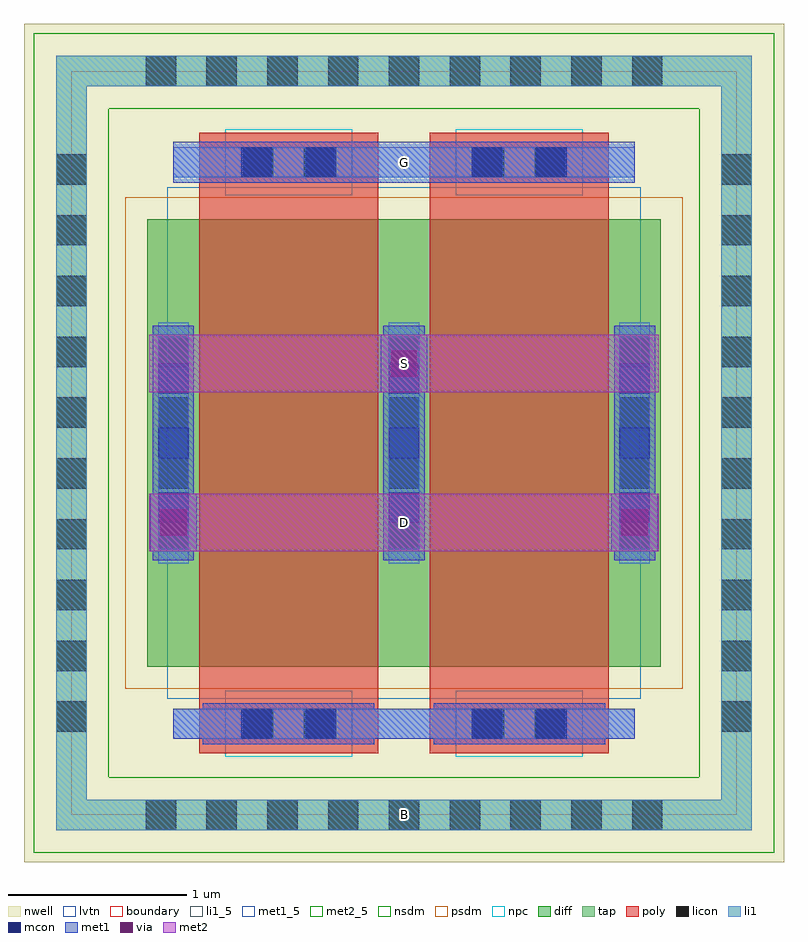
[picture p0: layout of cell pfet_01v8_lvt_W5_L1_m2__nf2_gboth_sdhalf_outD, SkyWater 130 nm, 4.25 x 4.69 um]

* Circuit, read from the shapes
.subckt pfet_01v8_lvt_W5_L1_m2__nf2_gboth_sdhalf_outD B D G S
XM1 S G D B sky130_fd_pr__pfet_01v8_lvt w=2.5 l=1 m=2
.ends

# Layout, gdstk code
import gdstk
lib = gdstk.Library(unit=1e-6, precision=1e-09)
def R(c, l, rs):  # rectangles x0, y0, x1, y1
    for r in rs: c.add(gdstk.rectangle(r[:2], r[2:], *l))
def A(c, l, x, y, w, h, nx, ny, dx, dy):  # array of equal rectangles
    R(c, l, [(x+i*dx, y+j*dy, x+i*dx+w, y+j*dy+h) for i in range(nx) for j in range(ny)])
nwell = (64, 20)
diff = (65, 20)
tap = (65, 44)
poly = (66, 20)
licon = (66, 44)
li1_5 = (67, 5)
li1 = (67, 20)
mcon = (67, 44)
met1_5 = (68, 5)
met1 = (68, 20)
via = (68, 44)
met2_5 = (69, 5)
met2 = (69, 20)
nsdm = (93, 44)
psdm = (94, 20)
npc = (95, 20)
lvtn = (125, 44)
boundary = (235, 4)

sky130_fd_pr__pfet_01v8_ = lib.new_cell('sky130_fd_pr__pfet_01v8_lvt_RZ4BCB')
R(sky130_fd_pr__pfet_01v8_, nwell, [(-2.125,-2.345,2.125,2.345)])
R(sky130_fd_pr__pfet_01v8_, diff, [(-1.435,-1.25,1.435,1.25)])
R(sky130_fd_pr__pfet_01v8_, tap, [(-1.945,-2.165,1.945,-1.995), (-1.945,-1.995,-1.775,1.995), (1.775,-1.995,1.945,1.995), (-1.945,1.995,1.945,2.165)])
R(sky130_fd_pr__pfet_01v8_, poly, [(-1.145,-1.735,-0.145,1.735), (0.145,-1.735,1.145,1.735)])
A(sky130_fd_pr__pfet_01v8_, licon, -1.445, -2.165, 0.17, 0.17, 9, 2, 0.34, 4.16)
A(sky130_fd_pr__pfet_01v8_, licon, -1.945, -1.615, 0.17, 0.17, 1, 10, 0, 0.34)
A(sky130_fd_pr__pfet_01v8_, licon, 1.775, -1.615, 0.17, 0.17, 1, 10, 0, 0.34)
A(sky130_fd_pr__pfet_01v8_, licon, -1.375, -0.595, 0.17, 0.17, 3, 4, 1.29, 0.34)
R(sky130_fd_pr__pfet_01v8_, licon, [(-0.9,-1.655,-0.73,-1.485), (-0.56,-1.655,-0.39,-1.485), (0.39,-1.655,0.56,-1.485), (0.73,-1.655,0.9,-1.485), (-0.9,1.485,-0.73,1.655), (-0.56,1.485,-0.39,1.655), (0.39,1.485,0.56,1.655), (0.73,1.485,0.9,1.655)])
A(sky130_fd_pr__pfet_01v8_, li1, -1.375, -0.675, 0.17, 1.35, 3, 1, 1.29, 0)
R(sky130_fd_pr__pfet_01v8_, li1, [(-1.945,-2.165,1.945,-1.995), (-1.945,-1.995,-1.775,1.995), (1.775,-1.995,1.945,1.995), (-1.29,-1.655,1.29,-1.485), (-1.29,1.485,1.29,1.655), (-1.945,1.995,1.945,2.165)])
A(sky130_fd_pr__pfet_01v8_, mcon, -1.375, -0.445, 0.17, 0.17, 3, 3, 1.29, 0.36)
R(sky130_fd_pr__pfet_01v8_, mcon, [(-0.91,-1.655,-0.74,-1.485), (-0.55,-1.655,-0.38,-1.485), (0.38,-1.655,0.55,-1.485), (0.74,-1.655,0.91,-1.485), (-0.91,1.485,-0.74,1.655), (-0.55,1.485,-0.38,1.655), (0.38,1.485,0.55,1.655), (0.74,1.485,0.91,1.655)])
A(sky130_fd_pr__pfet_01v8_, met1, -1.405, -0.655, 0.23, 1.31, 3, 1, 1.29, 0)
R(sky130_fd_pr__pfet_01v8_, met1, [(-1.125,-1.685,-0.165,-1.655), (0.165,-1.685,1.125,-1.655), (-1.29,-1.655,1.29,-1.485), (-1.125,-1.485,-0.165,-1.455), (0.165,-1.485,1.125,-1.455), (-1.125,1.455,-0.165,1.485), (0.165,1.455,1.125,1.485), (-1.29,1.485,1.29,1.655), (-1.125,1.655,-0.165,1.685), (0.165,1.655,1.125,1.685)])
R(sky130_fd_pr__pfet_01v8_, nsdm, [(-2.07,-2.29,2.07,-1.87), (-2.07,-1.87,-1.65,1.87), (1.65,-1.87,2.07,1.87), (-2.07,1.87,2.07,2.29)])
R(sky130_fd_pr__pfet_01v8_, psdm, [(-1.56,-1.375,1.56,1.375)])
R(sky130_fd_pr__pfet_01v8_, npc, [(-1,-1.755,-0.29,-1.385), (0.29,-1.755,1,-1.385), (-1,1.385,-0.29,1.755), (0.29,1.385,1,1.755)])
R(sky130_fd_pr__pfet_01v8_, lvtn, [(-1.325,-1.43,1.325,1.43)])
R(sky130_fd_pr__pfet_01v8_, boundary, [(-1.86,-2.08,1.86,2.08)])
sky130_fd_pr__pfet_01v8_.add(gdstk.Label('B', (0,-2.08), layer=67, texttype=5))
sky130_fd_pr__pfet_01v8_.add(gdstk.Label('D0', (-1.29,0), layer=67, texttype=5))
sky130_fd_pr__pfet_01v8_.add(gdstk.Label('G', (0.645,1.57), layer=67, texttype=5))
sky130_fd_pr__pfet_01v8_.add(gdstk.Label('G', (-0.645,1.57), layer=67, texttype=5))
sky130_fd_pr__pfet_01v8_.add(gdstk.Label('S1', (0,0), layer=67, texttype=5))

pfet_01v8_lvt_w5_l1_m2__ = lib.new_cell('pfet_01v8_lvt_W5_L1_m2__nf2_gboth_sdhalf_outD')
R(pfet_01v8_lvt_w5_l1_m2__, li1_5, [(1.775,-0.085,1.945,0.085)])
R(pfet_01v8_lvt_w5_l1_m2__, li1, [(1.775,-0.085,1.945,0.085)])
R(pfet_01v8_lvt_w5_l1_m2__, met1_5, [(0.57,3.535,3.15,3.765)])
R(pfet_01v8_lvt_w5_l1_m2__, met1, [(0.44,1.475,0.7,1.795), (3.02,1.475,3.28,1.795), (1.73,2.365,1.99,2.685), (0.57,3.535,3.15,3.765)])
R(pfet_01v8_lvt_w5_l1_m2__, via, [(0.495,1.56,0.645,1.71), (3.075,1.56,3.225,1.71), (1.785,2.45,1.935,2.6)])
R(pfet_01v8_lvt_w5_l1_m2__, met2_5, [(0.435,1.475,3.285,1.795), (0.435,2.365,3.285,2.685)])
R(pfet_01v8_lvt_w5_l1_m2__, met2, [(0.435,1.475,3.285,1.795), (0.435,2.365,3.285,2.685)])
pfet_01v8_lvt_w5_l1_m2__.add(gdstk.Reference(sky130_fd_pr__pfet_01v8_, (1.86,2.08)))
pfet_01v8_lvt_w5_l1_m2__.add(gdstk.Label('S', (1.86,2.525), layer=69, texttype=5))
pfet_01v8_lvt_w5_l1_m2__.add(gdstk.Label('D', (1.86,1.635), layer=69, texttype=5))
pfet_01v8_lvt_w5_l1_m2__.add(gdstk.Label('G', (1.86,3.65), layer=68, texttype=5))
pfet_01v8_lvt_w5_l1_m2__.add(gdstk.Label('B', (1.86,0), layer=67, texttype=5))

lib.write_gds('pfet_01v8_lvt_W5_L1_m2__nf2_gboth_sdhalf_outD.gds')
